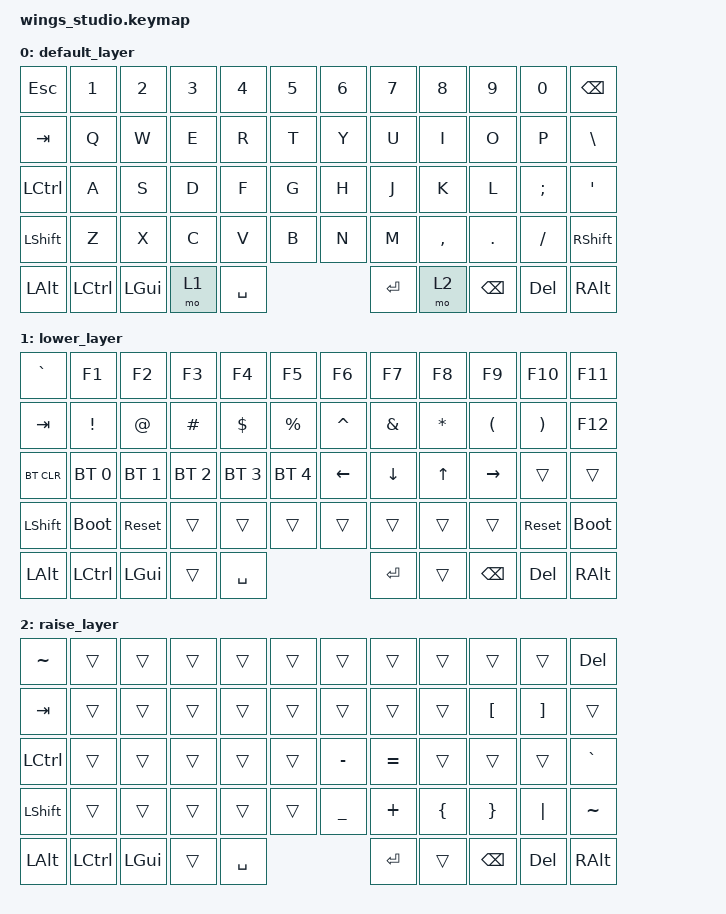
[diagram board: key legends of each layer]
/*
 * Copyright (c) 2020 The ZMK Contributors
 *
 * SPDX-License-Identifier: MIT
 */

#include <behaviors.dtsi>
#include <dt-bindings/zmk/keys.h>
#include <dt-bindings/zmk/bt.h>
#include <dt-bindings/zmk/reset.h>
#include <dt-bindings/zmk/ext_power.h>
#include <dt-bindings/zmk/studio.h>

/ {
        combos {
                compatible = "zmk,combos";
                
                combo_settings_reset {
                        timeout-ms = <50>;
                        key-positions = <0 11>; // ESC + BSPC keys
                        bindings = <&sys_reset>;
                        layers = <1>; // Only on lower layer
                };
                
                combo_studio_unlock {
                        timeout-ms = <50>;
                        key-positions = <0 1>; // ESC + 1 keys (top left corner)
                        bindings = <&studio_unlock>;
                };
                
                combo_bootloader {
                        timeout-ms = <50>;
                        key-positions = <10 11>; // 0 + BSPC keys (top right corner)
                        bindings = <&bootloader>;
                        layers = <1>; // Only on lower layer
                };
        };

        keymap {
                compatible = "zmk,keymap";

                default_layer {
// -----------------------------------------------------------------------------------------
// |  ESC |  1  |  2  |  3  |  4  |  5  |   |  6  |  7   |  8  |  9  |  0  | BSPC |
// |  TAB |  Q  |  W  |  E  |  R  |  T  |   |  Y  |  U   |  I  |  O  |  P  |  \   |
// | CTRL |  A  |  S  |  D  |  F  |  G  |   |  H  |  J   |  K  |  L  |  ;  |  '   |
// | SHFT |  Z  |  X  |  C  |  V  |  B  |   |  N  |  M   |  ,  |  .  |  /  | SHFT |
//        | ALT | CTL | GUI | LWR | SPC |   | ENT | RSE  | BSPC| DEL | ALT |
                        bindings = <
   &kp ESC   &kp N1 &kp N2 &kp N3 &kp N4 &kp N5   &kp N6 &kp N7 &kp N8    &kp N9  &kp N0   &kp BSPC
   &kp TAB   &kp Q  &kp W  &kp E  &kp R  &kp T    &kp Y  &kp U  &kp I     &kp O   &kp P    &kp BSLH
   &kp LCTRL &kp A  &kp S  &kp D  &kp F  &kp G    &kp H  &kp J  &kp K     &kp L   &kp SEMI &kp SQT
   &kp LSHFT &kp Z  &kp X  &kp C  &kp V  &kp B    &kp N  &kp M  &kp COMMA &kp DOT &kp FSLH &kp RSHFT
        &kp LALT &kp LCTRL &kp LGUI &mo 1 &kp SPACE   &kp RET &mo 2 &kp BSPC &kp DEL &kp RALT
                        >;
                };
                lower_layer {
// -----------------------------------------------------------------------------------------
// |  `   |  F1 |  F2 |  F3 |  F4 |  F5 |   |  F6 |  F7 |  F8 |  F9 | F10 | F11  |
// |  TAB |  !  |  @  |  #  |  $  |  %  |   |  ^  |  &  |  *  |  (  |  )  | F12  |
// | BTCLR| BT1 | BT2 | BT3 | BT4 | BT5 |   | LFT | DWN |  UP | RGT |     |      |
// | SHFT |BOOT | RST |     |     |     |   |     |     |     |     | RST | BOOT |
//        | ALT | CTL | GUI |     | SPC |   | ENT |     | BSPC| DEL | ALT |
                        bindings = <
   &kp GRAVE  &kp F1       &kp F2       &kp F3       &kp F4       &kp F5         &kp F6   &kp F7   &kp F8 &kp F9    &kp F10 &kp F11
   &kp TAB    &kp EXCL     &kp AT       &kp HASH     &kp DLLR     &kp PRCNT      &kp CARET &kp AMPS &kp ASTRK &kp LPAR &kp RPAR &kp F12
   &bt BT_CLR &bt BT_SEL 0 &bt BT_SEL 1 &bt BT_SEL 2 &bt BT_SEL 3 &bt BT_SEL 4   &kp LEFT &kp DOWN &kp UP &kp RIGHT &trans &trans
   &kp LSHFT  &bootloader  &sys_reset   &trans       &trans       &trans         &trans   &trans   &trans &trans    &sys_reset &bootloader
        &kp LALT &kp LCTRL &kp LGUI &trans &kp SPACE      &kp RET &trans &kp BSPC &kp DEL &kp RALT
                        >;
                };

                raise_layer {
// -----------------------------------------------------------------------------------------
// |  ~   |     |     |     |     |     |   |     |     |     |     |     | DEL  |
// |  TAB |     |     |     |     |     |   |     |     |     |  [  |  ]  |      |
// | CTRL |     |     |     |     |     |   |  -  |  =  |     |     |     |  `   |
// | SHFT |     |     |     |     |     |   |  _  |  +  |  {  |  }  | "|" |  ~   |
//        | ALT | CTL | GUI |     | SPC |   | ENT |     | BSPC| DEL | ALT |
                        bindings = <
   &kp TILDE &trans   &trans &trans   &trans   &trans      &trans    &trans    &trans    &trans   &trans   &kp DEL
   &kp TAB   &trans   &trans &trans   &trans   &trans      &trans    &trans    &trans    &kp LBKT &kp RBKT &trans
   &kp LCTRL &trans   &trans &trans   &trans   &trans      &kp MINUS &kp EQUAL &trans    &trans   &trans   &kp GRAVE
   &kp LSHFT &trans   &trans &trans   &trans   &trans      &kp UNDER &kp PLUS  &kp LBRC  &kp RBRC &kp PIPE &kp TILDE
        &kp LALT &kp LCTRL &kp LGUI &trans &kp SPACE   &kp RET &trans &kp BSPC &kp DEL &kp RALT
                        >;
                };
        };
};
